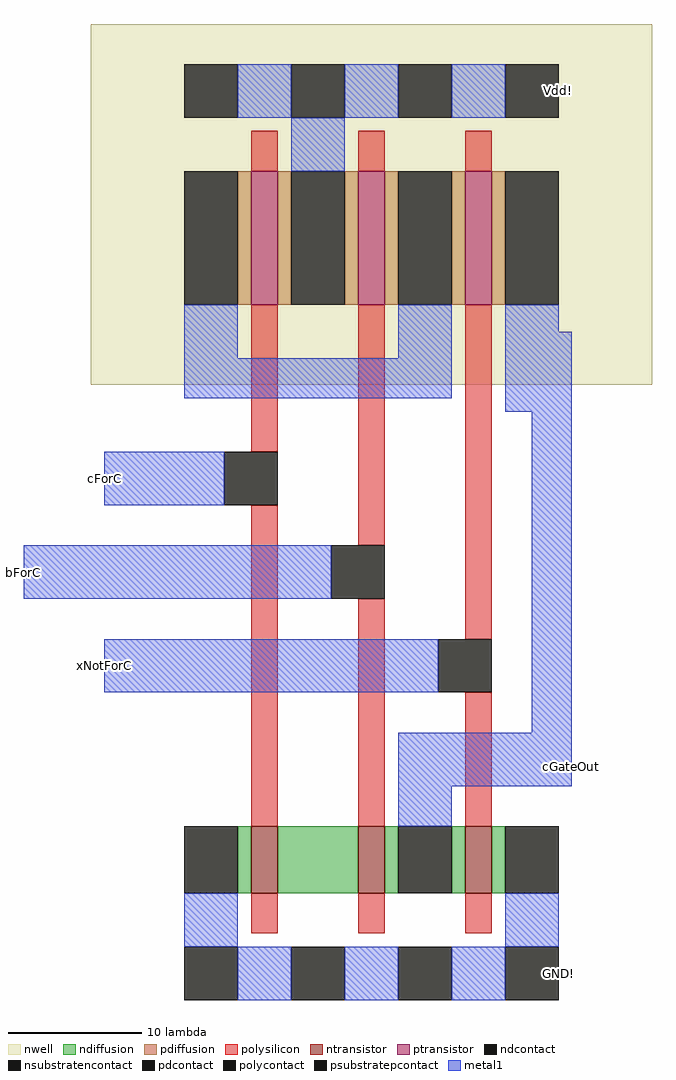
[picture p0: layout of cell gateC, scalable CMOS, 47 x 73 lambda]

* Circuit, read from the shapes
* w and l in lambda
.subckt gateC GND! Vdd! bForC cForC cGateOut xNotForC
M1 n1 cForC GND! GND! nfet w=5 l=2
M2 cGateOut bForC n1 GND! nfet w=5 l=2
M3 GND! xNotForC cGateOut GND! nfet w=5 l=2
M4 Vdd! cForC n2 Vdd! pfet w=10 l=2
M5 n2 bForC Vdd! Vdd! pfet w=10 l=2
M6 cGateOut xNotForC n2 Vdd! pfet w=10 l=2
.ends

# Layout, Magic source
magic
tech scmos
<< nwell >>
rect 228 278 270 305
<< ntransistor >>
rect 240 240 242 245
rect 248 240 250 245
rect 256 240 258 245
<< ptransistor >>
rect 240 284 242 294
rect 248 284 250 294
rect 256 284 258 294
<< ndiffusion >>
rect 239 240 240 245
rect 242 240 248 245
rect 250 240 251 245
rect 255 240 256 245
rect 258 240 259 245
<< pdiffusion >>
rect 239 284 240 294
rect 242 284 243 294
rect 247 284 248 294
rect 250 284 251 294
rect 255 284 256 294
rect 258 284 259 294
<< ndcontact >>
rect 235 240 239 245
rect 251 240 255 245
rect 259 240 263 245
<< pdcontact >>
rect 235 284 239 294
rect 243 284 247 294
rect 251 284 255 294
rect 259 284 263 294
<< psubstratepcontact >>
rect 235 232 239 236
rect 243 232 247 236
rect 251 232 255 236
rect 259 232 263 236
<< nsubstratencontact >>
rect 235 298 239 302
rect 243 298 247 302
rect 251 298 255 302
rect 259 298 263 302
<< polysilicon >>
rect 240 294 242 297
rect 248 294 250 297
rect 256 294 258 297
rect 240 273 242 284
rect 240 245 242 269
rect 248 266 250 284
rect 248 245 250 262
rect 256 259 258 284
rect 256 245 258 255
rect 240 237 242 240
rect 248 237 250 240
rect 256 237 258 240
<< polycontact >>
rect 238 269 242 273
rect 246 262 250 266
rect 254 255 258 259
<< metal1 >>
rect 239 298 243 302
rect 247 298 251 302
rect 255 298 259 302
rect 243 294 247 298
rect 235 280 239 284
rect 251 280 255 284
rect 235 277 255 280
rect 259 282 263 284
rect 259 276 264 282
rect 229 269 238 273
rect 223 262 246 266
rect 229 255 254 259
rect 261 252 264 276
rect 251 248 264 252
rect 251 245 255 248
rect 235 236 239 240
rect 259 236 263 240
rect 239 232 243 236
rect 247 232 251 236
rect 255 232 259 236
<< labels >>
rlabel nsubstratencontact 263 298 263 302 1 Vdd!
rlabel psubstratepcontact 263 232 263 236 1 GND!
rlabel metal1 229 269 229 273 1 cForC
rlabel metal1 223 262 223 266 1 bForC
rlabel metal1 229 255 229 259 1 xNotForC
rlabel metal1 264 248 264 251 1 cGateOut
<< end >>
